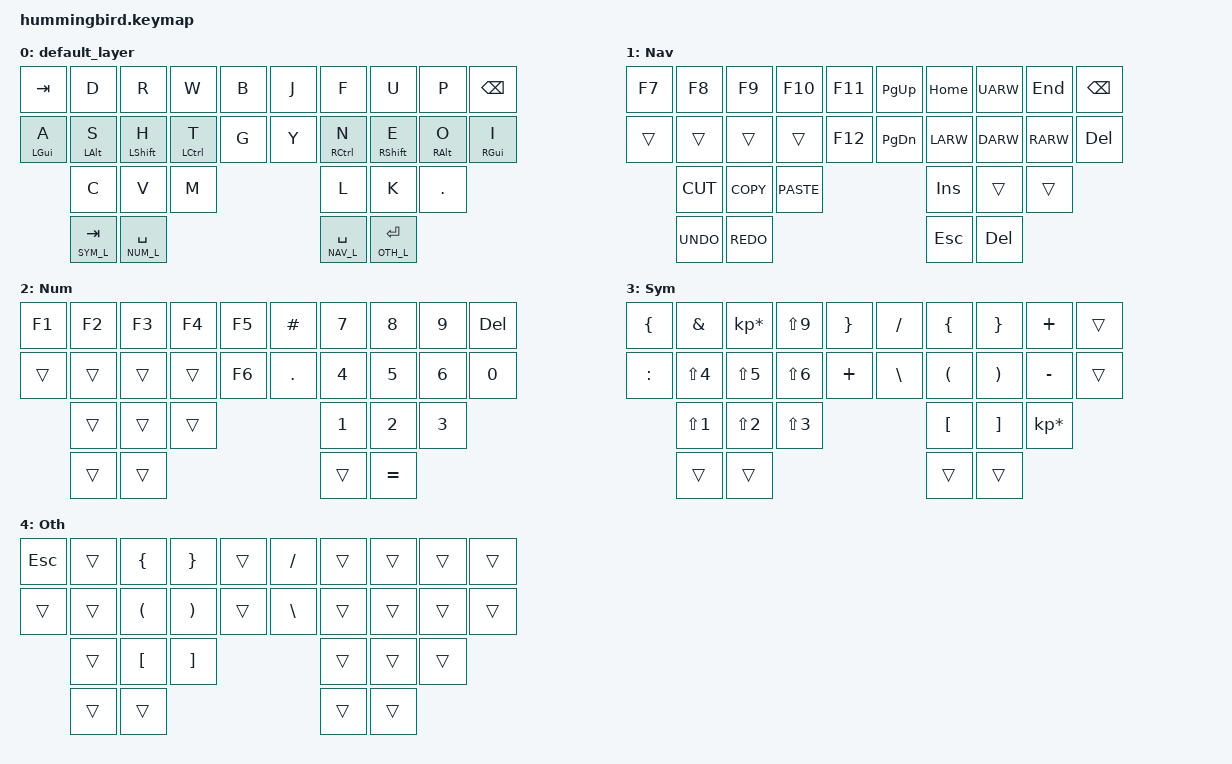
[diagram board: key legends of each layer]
/*
 * Copyright (c) 2020 The ZMK Contributors
 *
 * SPDX-License-Identifier: MIT
 */

#include <behaviors.dtsi>
#include <dt-bindings/zmk/keys.h>

#define DEF_L 0
#define NAV_L 1
#define NUM_L 2
#define SYM_L 3
#define OTH_L 4

// Using layer taps on thumbs, having quick tap as well helps w/ repeating space/backspace
&lt { quick_tap_ms = <200>; };

/ {
    behaviors {
        hm: homerow_mods {
            compatible = "zmk,behavior-hold-tap";
            label = "homerow mods";
            #binding-cells = <2>;
            tapping_term_ms = <225>;
            flavor = "tap-preferred";
            bindings = <&kp>, <&kp>;
        };
    };

    combos {
        compatible = "zmk,combos";
		/* ====== Default Layer ====== */
        combo_z {
            timeout-ms = <50>;
            key-positions = <20 21>;
			layers = <DEF_L>;
            bindings = <&kp Z>;
        };
        combo_b {
            timeout-ms = <50>;
            key-positions = <21 22>;
			layers = <DEF_L>;
            bindings = <&kp X>;
        };
        combo_q {
            timeout-ms = <50>;
            key-positions = <6 7>;
			layers = <DEF_L>;
            bindings = <&kp Q>;
        };
        combo_esc {
            timeout-ms = <50>;
            key-positions = <0 1>;
			layers = <DEF_L>;
            bindings = <&kp ESC>;
        };
        combo_comma {
            timeout-ms = <50>;
            key-positions = <24 25>;
			layers = <DEF_L>;
            bindings = <&kp COMMA>;
        };
		/* ====== Number Layer ====== */		
        combo_lbrk {
            timeout-ms = <50>;
            key-positions = <5 6>;
			layers = <NUM_L>;
            bindings = <&kp LPAR>;
        };
        combo_rbrk {
            timeout-ms = <50>;
            key-positions = <6 7>;
			layers = <NUM_L>;
            bindings = <&kp RPAR>;
        };
        combo_lcbrk {
            timeout-ms = <50>;
            key-positions = <7 8>;
			layers = <NUM_L>;
            bindings = <&kp LBRC>;
        };
        combo_rcbrk {
            timeout-ms = <50>;
            key-positions = <8 9>;
			layers = <NUM_L>;
            bindings = <&kp RBRC>;
        };
    };
};

/ {
    keymap {
        compatible = "zmk,keymap";
/*              +-----+                             +-----+  
		  +-----+  R  +-----+                 +-----+  U  +-----+
	+-----+  D  +-----+  W  +-----+     +-----+  F  +-----+  P  +-----+
	| TAB +-----+S[H] +-----+  B  |     |  J  +-----+S[E] +-----+ B.S |
	+-----+A[S] +-----+C[T] +-----+     +-----+C[N] +-----+A[O] +-----+
	|G[A] +-----+  V  +-----+  G  |     |  Y  +-----+  K  +-----+G[I] |
	+-----+  C  +-----+  M  +-----+     +-----+  L  +-----+  .  +-----+
		  +-----+     +-----+       STD       +-----+     +-----+
						+-----+              +-----+
						|[SYM]+-----+  +-----+[OTH]|
						| TAB |[NUM]|  |[NAV]+ RET |
						+-----+ SPC |  | SPC +-----+
							  +-----+  +-----+                        */
		default_layer {
			bindings = <
			&kp TAB     &kp D      &kp R        &kp W       &kp B    &kp J  &kp F        &kp U        &kp P       &kp BKSP
			&hm LGUI A  &hm LALT S &hm LSHFT H  &hm LCTRL T &kp G    &kp Y  &hm RCTRL N  &hm RSHFT E  &hm RALT O  &hm RGUI I
						&kp C      &kp V        &kp M                       &kp L        &kp K        &kp DOT
						&lt SYM_L TAB  &lt NUM_L SPACE               &lt NAV_L SPACE     &lt OTH_L RET
			>;
		}; 						
/*              +-----+                             +-----+  
		  +-----+ F9  +-----+                 +-----+  ^  +-----+
	+-----+ F8  +-----+ F10 +-----+     +-----+ Hme +-----+ End +-----+
	| F7  +-----+ > < +-----+ F11 |     | P.U +-----+  v  +-----+     |
	+-----+ > < +-----+ > < +-----+     +-----+  <  +-----+  >  +-----+
	| > < +-----+COPY +-----+ F12 |     | P.D +-----+     +-----+ DEL |
	+-----+ CUT +-----+PASTE+-----+     +-----+ INS +-----+     +-----+
		  +-----+     +-----+       NAV       +-----+     +-----+
						+-----+             +-----+
						|UNDO +-----+ +=====+ DEL |
						+-----+REDO | | NAV +-----+
						      +-----+ +=====+         */
		nav_layer {
			label = "Nav";
			bindings = <
				&kp F7 &kp F8 &kp F9 &kp F10 &kp F11       &kp PG_UP  &kp HOME  &kp UARW  &kp END   &kp BKSP
				&trans &trans &trans &trans  &kp F12       &kp PG_DN  &kp LARW  &kp DARW  &kp RARW  &kp DEL
					&kp K_CUT &kp K_COPY &kp K_PASTE                  &kp INS   &trans    &trans
								  &kp K_UNDO  &kp K_REDO   &kp ESC    &kp DEL
			>;
		};
/*              +-----+                             +-----+  
		  +-----+ F3  +-----+                 +-----+  8  +-----+
	+-----+ F2  +-----+ F4  +-----+     +-----+  7  +-----+  9  +-----+
	| F1  +-----+ > < +-----+ F5  |     |  #  +-----+  5  +-----+ DEL |
	+-----+ > < +-----+ > < +-----+     +-----+  4  +-----+  6  +-----+
	| > < +-----+     +-----+ F6  |     |  .  +-----+  2  +-----+  0  |
	+-----+     +-----+     +-----+     +-----+  1  +-----+  3  +-----+
		  +-----+     +-----+       NUM       +-----+     +-----+
						+-----+             +-----+
						|     +=====+ +-----+  =  |
						+-----+ NUM | |     +-----+
							  +=====+ +-----+         */
		num_layer {
			label = "Num";
			bindings = <
				&kp F1  &kp F2  &kp F3  &kp F4  &kp F5       &kp HASH  &kp N7  &kp N8  &kp N9  &kp DEL
				&trans  &trans  &trans  &trans  &kp F6       &kp DOT   &kp N4  &kp N5  &kp N6  &kp N0
						&trans  &trans  &trans                         &kp N1  &kp N2  &kp N3
										&trans  &trans       &trans    &kp EQUAL
			>;
		};
/*              +-----+                             +-----+  
		  +-----+  *  +-----+                 +-----+  }  +-----+
	+-----+  &  +-----+  (  +-----+     +-----+  {  +-----+  +  +-----
	|  {  +-----+  %  +-----+  }  |     |  /  +-----+  )  +-----+     |
	+-----+  $  +-----+  ^  +-----+     +-----+  (  +-----+  -  +-----+
	|  :  +-----+  @  +-----+  +  |     |  \  +-----+  ]  +-----+  =  |
	+-----+  !  +-----+  #  +-----+     +-----+  [  +-----+  *  +-----+
		  +-----+     +-----+       SYM       +-----+     +-----+
						+=====+             +-----+
						| SYM +-----+ +-----+     |
						+=====+     | |     +-----+
							  +-----+ +-----+        */
		sym_layer {
			label = "Sym";
			bindings = <
				&kp LBRC   &kp AMPS &kp KP_MULTIPLY &kp LS(N9) &kp RBRC    &kp FSLH &kp LBRC &kp RBRC &kp PLUS  &trans
				&kp COLON  &kp LS(N4) &kp LS(N5) &kp LS(N6) &kp PLUS       &kp BSLH &kp LPAR &kp RPAR &kp MINUS &trans
						   &kp LS(N1) &kp LS(N2) &kp LS(N3)                         &kp LBKT &kp RBKT &kp KP_MULTIPLY
												 &trans     &trans         &trans   &trans
			>;
		}; 
/*              +-----+                             +-----+  
		  +-----+  {  +-----+                 +-----+     +-----+
	+-----+     +-----+  }  +-----+     +-----+     +-----+     +-----+
	|     +-----+  (  +-----+     |     |     +-----+     +-----+     |
	+-----+     +-----+  )  +-----+     +-----+     +-----+     +-----+
	|     +-----+  [  +-----+     |     |     +-----+     +-----+     |
	+-----+     +-----+  ]  +-----+     +-----+     +-----+     +-----+
		  +-----+     +-----+       OTH       +-----+     +-----+
						+-----+             +=====+
						|     +-----+ +-----+ OTH |
						+-----+     | |     +=====+
							  +-----+ +-----+         */ 
		oth_layer {
			label = "Oth";
			bindings = <
				&kp ESC  &trans  &kp LBRC  &kp RBRC  &trans        &kp FSLH &trans &trans &trans &trans
				&trans   &trans  &kp LPAR  &kp RPAR  &trans        &kp BSLH &trans &trans &trans &trans
					     &trans  &kp LBKT  &kp RBKT                         &trans &trans &trans
							               &trans    &trans        &trans   &trans
			>;
		};
    };
};
